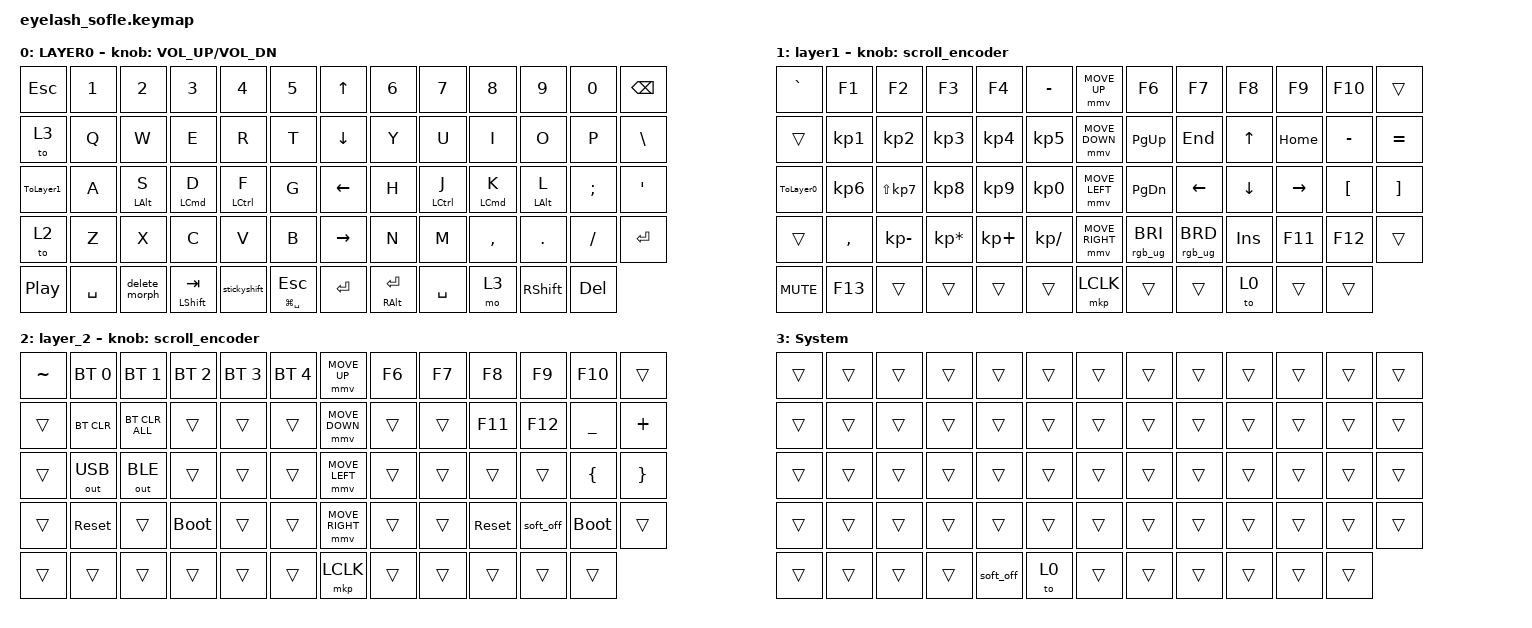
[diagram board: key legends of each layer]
#define ZMK_POINTING_DEFAULT_MOVE_VAL 1200  // 600
#define ZMK_POINTING_DEFAULT_SCRL_VAL 35    // 10

#include <input/processors.dtsi>
#include <zephyr/dt-bindings/input/input-event-codes.h>
#include <behaviors/num_word.dtsi>
#include <behaviors.dtsi>
#include <dt-bindings/zmk/bt.h>
#include <dt-bindings/zmk/keys.h>
#include <dt-bindings/zmk/outputs.h>
#include <dt-bindings/zmk/pointing.h>
#include <dt-bindings/zmk/rgb.h>

/ {
    zip_scroll_scaler: zip_scroll_scaler {
        compatible = "zmk,input-processor-scaler";
        #input-processor-cells = <2>;
        type = <INPUT_EV_REL>;
        codes = <INPUT_REL_WHEEL INPUT_REL_HWHEEL>;
        track-remainders;
    };
};

&mmv_input_listener { input-processors = <&zip_xy_scaler 2 1>; };

&msc_input_listener { input-processors = <&zip_scroll_scaler 2 1>; };

&msc {
    acceleration-exponent = <0>;      // 0
    time-to-max-speed-ms = <0>;       // 300
    delay-ms = <0>;                   // 0
};

&mmv {
    time-to-max-speed-ms = <400>;
    acceleration-exponent = <1>;
};

&num_word { continue-list = <BSPC DEL DOT COMMA KP_PLUS KP_MINUS KP_MULTIPLY KP_SLASH FSLH EQUAL F13 SPACE>; };

/ {
    scroll_encoder: scroll_encoder {
        compatible = "zmk,behavior-sensor-rotate";
        #sensor-binding-cells = <0>;
        bindings = <&msc SCRL_DOWN>, <&msc SCRL_UP>;

        tap-ms = <30>;
    };

    macros {
        ToLayer1: Layer1 {
            compatible = "zmk,behavior-macro";
            #binding-cells = <0>;
            bindings = <&kp F19 &to 1>;
            label = "LAYER1";
        };

        ToLayer0: Layer_0 {
            compatible = "zmk,behavior-macro";
            #binding-cells = <0>;
            bindings = <&kp F20 &to 0>;
            label = "LAYER_0";
        };

        new: new {
            compatible = "zmk,behavior-macro";
            #binding-cells = <0>;
            bindings = <&kp LG(N)>;
            label = "NEW";
        };
    };

    behaviors {
        my_mt_left: my_mt_left {
            compatible = "zmk,behavior-hold-tap";
            #binding-cells = <2>;
            flavor = "balanced";
            tapping-term-ms = <280>;
            bindings = <&kp>, <&kp>;

            display-name = "Mod-Tap";
            quick-tap-ms = <175>;
            require-prior-idle-ms = <150>;
            hold-trigger-on-release;
            hold-trigger-key-positions = <14 15 16 17 14 15 16 17 18 27 28 29 30 31 40 41 42 43 44 56>;
            label = "mt_left";
        };

        my_mt_right: my_mt_right {
            compatible = "zmk,behavior-hold-tap";
            #binding-cells = <2>;
            flavor = "balanced";
            tapping-term-ms = <280>;
            bindings = <&kp>, <&kp>;

            display-name = "Mod-Tap";
            quick-tap-ms = <175>;
            require-prior-idle-ms = <150>;
            hold-trigger-on-release;
            label = "mt_right";
            hold-trigger-key-positions = <20 21 22 23 24 33 34 35 36 37 46 47 48 49 50>;
        };

        swap: swapper {
            compatible = "zmk,behavior-tri-state";
            label = "SWAPPER";
            #binding-cells = <0>;
            bindings = <&kt LEFT_GUI>, <&kp TAB>, <&kt LEFT_GUI>;

            ignored-key-positions = <29 30>;
        };

        delete_morph: delete_morph {
            compatible = "zmk,behavior-mod-morph";
            label = "DELETE_MORPH";
            bindings = <&kp BACKSPACE>, <&kp DELETE>;

            #binding-cells = <0>;
            mods = <(MOD_LGUI)>;
        };

        new_behavior2: new_behavior2 {
            compatible = "zmk,behavior-mod-morph";
            label = "NEW_BEHAVIOR2";
            bindings = <&kp S>, <&kp P>;

            #binding-cells = <0>;
            mods = <(MOD_LGUI)>;
        };

        new_behavior3: new_behavior3 {
            compatible = "zmk,behavior-hold-tap";
            label = "NEW_BEHAVIOR3";
            bindings = <&new_behavior5>, <&new_behavior4>;

            #binding-cells = <2>;
            tapping-term-ms = <500>;
        };

        new_behavior4: new_behavior4 {
            compatible = "zmk,behavior-tap-dance";
            label = "NEW_BEHAVIOR4";
            #binding-cells = <0>;
            bindings = <&new_behavior2>, <&kp W>, <&kp O>;

            tapping-term-ms = <400>;
        };

        new_behavior5: new_behavior5 {
            compatible = "zmk,behavior-mod-morph";
            label = "NEW_BEHAVIOR5";
            bindings = <&kp V>, <&kp LS(V)>;

            #binding-cells = <0>;
            mods = <(MOD_LGUI)>;
        };

        swap2: swap2 {
            compatible = "zmk,behavior-tri-state";
            label = "SWAP2";
            #binding-cells = <0>;
            bindings = <&kt LCTRL>, <&kp TAB>, <&kt LCTRL>;

            ignored-key-positions = <56>;
        };

        new_tab: new_tab {
            compatible = "zmk,behavior-mod-morph";
            label = "NEW_TAB";
            bindings = <&kp Q>, <&new>;

            #binding-cells = <0>;
            mods = <(MOD_LGUI)>;
        };

        stickyshift: stickyshift {
            compatible = "zmk,behavior-tap-dance";
            label = "STICKYSHIFT";
            #binding-cells = <0>;
            bindings = <&kp RET>, <&sk LSHFT>;

            tapping-term-ms = <400>;
        };
    };

    combos {
        compatible = "zmk,combos";

        bootloarder_dongle {
            bindings = <&bootloader>;
            key-positions = <30>;
            layers = <3>;
        };
    };

    keymap {
        compatible = "zmk,keymap";

        Base {
            bindings = <
&kp ESC           &kp N1     &kp N2                  &kp N3                      &kp N4               &kp N5                  &kp UP_ARROW     &kp N6                &kp N7                       &kp N8                       &kp N9                   &kp N0      &kp BACKSPACE
&to 3             &kp Q      &kp W                   &kp E                       &kp R                &kp T                   &kp DOWN_ARROW   &kp Y                 &kp U                        &kp I                        &kp O                    &kp P       &kp BSLH
&ToLayer1         &kp A      &my_mt_left LEFT_ALT S  &my_mt_left LEFT_COMMAND D  &my_mt_left LCTRL F  &kp G                   &kp LEFT_ARROW   &kp H                 &my_mt_right LEFT_CONTROL J  &my_mt_right LEFT_COMMAND K  &my_mt_right LEFT_ALT L  &kp SEMI    &kp APOS
&to 2             &kp Z      &kp X                   &kp C                       &kp V                &kp B                   &kp RIGHT_ARROW  &kp N                 &kp M                        &kp COMMA                    &kp DOT                  &kp FSLH    &kp ENTER
&kp C_PLAY_PAUSE  &kp SPACE  &delete_morph           &mt LSHFT TAB               &stickyshift         &mt LG(SPACE) ESCAPE    &kp ENTER        &mt RIGHT_ALT RETURN  &kp SPACE                    &mo 3                        &kp RIGHT_SHIFT          &kp DELETE
            >;

            sensor-bindings = <&inc_dec_kp C_VOLUME_UP C_VOL_DN>;
            display-name = "LAYER0";
        };

        Num {
            bindings = <
&kp GRAVE   &kp F1           &kp F2               &kp F3           &kp F4           &kp MINUS          &mmv MOVE_UP     &kp F6           &kp F7           &kp F8      &kp F9     &kp F10           &trans
&trans      &kp KP_NUMBER_1  &kp KP_NUMBER_2      &kp KP_NUMBER_3  &kp KP_NUMBER_4  &kp KP_NUMBER_5    &mmv MOVE_DOWN   &kp PG_UP        &kp END          &kp UP      &kp HOME   &kp MINUS         &kp EQUAL
&ToLayer0   &kp KP_NUMBER_6  &kp LS(KP_NUMBER_7)  &kp KP_NUMBER_8  &kp KP_NUMBER_9  &kp KP_NUMBER_0    &mmv MOVE_LEFT   &kp PG_DN        &kp LEFT         &kp DOWN    &kp RIGHT  &kp LEFT_BRACKET  &kp RIGHT_BRACKET
&trans      &kp COMMA        &kp KP_SUBTRACT      &kp KP_ASTERISK  &kp KP_PLUS      &kp KP_DIVIDE      &mmv MOVE_RIGHT  &rgb_ug RGB_BRI  &rgb_ug RGB_BRD  &kp INSERT  &kp F11    &kp F12           &trans
&kp C_MUTE  &kp F13          &trans               &trans           &trans           &trans             &mkp LCLK        &trans           &trans           &to 0       &trans     &trans
            >;

            display-name = "layer1";
            sensor-bindings = <&scroll_encoder>;
        };

        layer_2 {
            bindings = <
&kp TILDE  &bt BT_SEL 0  &bt BT_SEL 1    &bt BT_SEL 2  &bt BT_SEL 3  &bt BT_SEL 4    &mmv MOVE_UP     &kp F6  &kp F7  &kp F8      &kp F9     &kp F10      &trans
&trans     &bt BT_CLR    &bt BT_CLR_ALL  &trans        &trans        &trans          &mmv MOVE_DOWN   &trans  &trans  &kp F11     &kp F12    &kp UNDER    &kp PLUS
&trans     &out OUT_USB  &out OUT_BLE    &trans        &trans        &trans          &mmv MOVE_LEFT   &trans  &trans  &trans      &trans     &kp LBRC     &kp RBRC
&trans     &sys_reset    &trans          &bootloader   &trans        &trans          &mmv MOVE_RIGHT  &trans  &trans  &sys_reset  &soft_off  &bootloader  &trans
&trans     &trans        &trans          &trans        &trans        &trans          &mkp LCLK        &trans  &trans  &trans      &trans     &trans
            >;

            sensor-bindings = <&scroll_encoder>;
        };

        System {
            bindings = <
&trans  &trans  &trans  &trans  &trans     &trans    &trans  &trans  &trans  &trans  &trans  &trans  &trans
&trans  &trans  &trans  &trans  &trans     &trans    &trans  &trans  &trans  &trans  &trans  &trans  &trans
&trans  &trans  &trans  &trans  &trans     &trans    &trans  &trans  &trans  &trans  &trans  &trans  &trans
&trans  &trans  &trans  &trans  &trans     &trans    &trans  &trans  &trans  &trans  &trans  &trans  &trans
&trans  &trans  &trans  &trans  &soft_off  &to 0     &trans  &trans  &trans  &trans  &trans  &trans
            >;
        };
    };
};
